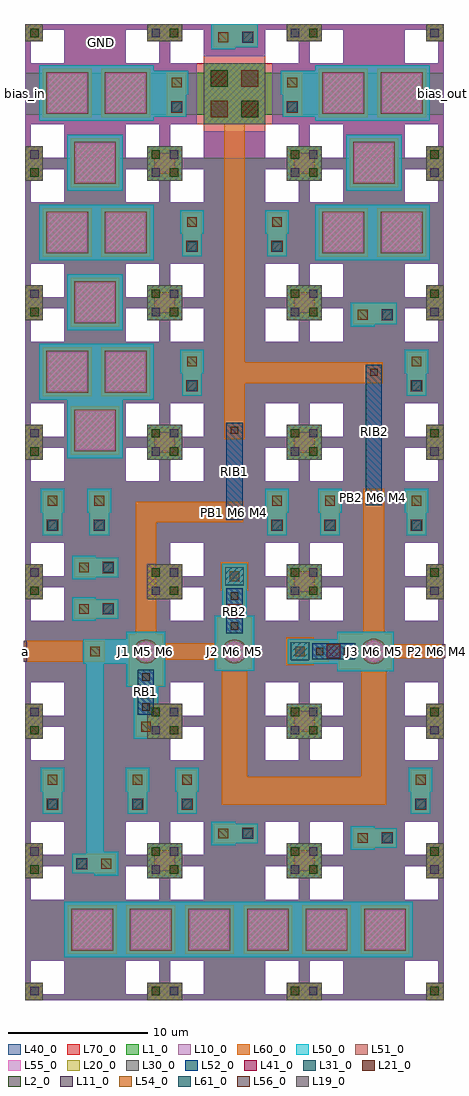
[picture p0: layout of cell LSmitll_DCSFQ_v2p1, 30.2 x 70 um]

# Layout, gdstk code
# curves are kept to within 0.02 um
from math import pi, radians
import gdstk
lib = gdstk.Library(unit=1e-6, precision=1e-09)
def R(c, l, rs):  # rectangles x0, y0, x1, y1
    for r in rs: c.add(gdstk.rectangle(r[:2], r[2:], *l))
def A(c, l, x, y, w, h, nx, ny, dx, dy):  # array of equal rectangles
    R(c, l, [(x+i*dx, y+j*dy, x+i*dx+w, y+j*dy+h) for i in range(nx) for j in range(ny)])
def P(c, l, *ps):  # polygons
    for p in ps: c.add(gdstk.Polygon(p, *l))
L1_0 = (1, 0)
L2_0 = (2, 0)
L10_0 = (10, 0)
L11_0 = (11, 0)
L19_0 = (19, 0)
L20_0 = (20, 0)
L21_0 = (21, 0)
L30_0 = (30, 0)
L31_0 = (31, 0)
L40_0 = (40, 0)
L41_0 = (41, 0)
L50_0 = (50, 0)
L51_0 = (51, 0)
L52_0 = (52, 0)
L54_0 = (54, 0)
L55_0 = (55, 0)
L56_0 = (56, 0)
L60_0 = (60, 0)
L61_0 = (61, 0)
L70_0 = (70, 0)

ls_tr_m0 = lib.new_cell('ls_tr_M0')
P(ls_tr_m0, L1_0, [(0,0),(0,10),(1.25,10),(1.25,8.75),(0.4,8.75),(0.4,1.25),(1.25,1.25),(1.25,0.4),(2.8,0.4),(2.8,2.8),(0.4,2.8),(0.4,7.2),(2.8,7.2),(2.8,9.6),(1.25,9.6),(1.25,10),(7.2,10),(7.2,0.4),(8.75,0.4),(8.75,1.25),(9.6,1.25),(9.6,2.8),(7.2,2.8),(7.2,7.2),(9.6,7.2),(9.6,8.75),(8.75,8.75),(8.75,9.6),(7.2,9.6),(7.2,10),(10,10),(10,0)])

ls_tr_m7 = lib.new_cell('ls_tr_M7')
P(ls_tr_m7, L70_0, [(0,0),(0,10),(1.25,10),(1.25,8.75),(0.4,8.75),(0.4,1.25),(1.25,1.25),(1.25,0.4),(2.8,0.4),(2.8,2.8),(0.4,2.8),(0.4,7.2),(2.8,7.2),(2.8,9.6),(1.25,9.6),(1.25,10),(7.2,10),(7.2,0.4),(8.75,0.4),(8.75,1.25),(9.6,1.25),(9.6,2.8),(7.2,2.8),(7.2,7.2),(9.6,7.2),(9.6,8.75),(8.75,8.75),(8.75,9.6),(7.2,9.6),(7.2,10),(10,10),(10,0)])

ls_tr_u_m4_alt = lib.new_cell('ls_tr_u_M4_alt')
R(ls_tr_u_m4_alt, L1_0, [(0,0,1.25,1.25), (8.75,0,10,1.25), (0,8.75,1.25,10), (8.75,8.75,10,10)])
R(ls_tr_u_m4_alt, L2_0, [(9.05,0.35,9.65,0.95), (0.35,9.05,0.95,9.65)])
R(ls_tr_u_m4_alt, L10_0, [(0,0,1.25,1.25), (1.25,0,8.75,0.4), (8.75,0,10,1.25), (2.8,0.4,7.2,9.6), (0,1.25,0.4,8.75), (9.6,1.25,10,8.75), (0.4,2.8,2.8,7.2), (7.2,2.8,9.6,7.2), (0,8.75,1.25,10), (8.75,8.75,10,10), (1.25,9.6,8.75,10)])
R(ls_tr_u_m4_alt, L11_0, [(0.35,0.35,0.95,0.95), (9.05,9.05,9.65,9.65)])
R(ls_tr_u_m4_alt, L20_0, [(0,0,1.25,1.25), (8.75,0,10,1.25), (0,8.75,1.25,10), (8.75,8.75,10,10)])
R(ls_tr_u_m4_alt, L21_0, [(9.05,0.35,9.65,0.95), (0.35,9.05,0.95,9.65)])
R(ls_tr_u_m4_alt, L30_0, [(0,0,1.25,1.25), (8.75,0,10,1.25), (0,8.75,1.25,10), (8.75,8.75,10,10)])
R(ls_tr_u_m4_alt, L31_0, [(0.35,0.35,0.95,0.95), (9.05,9.05,9.65,9.65)])
P(ls_tr_u_m4_alt, L40_0, [(0,0),(0,10),(1.25,10),(1.25,8.75),(0.4,8.75),(0.4,1.25),(1.25,1.25),(1.25,0.4),(2.8,0.4),(2.8,2.8),(0.4,2.8),(0.4,7.2),(2.8,7.2),(2.8,9.6),(1.25,9.6),(1.25,10),(7.2,10),(7.2,0.4),(8.75,0.4),(8.75,1.25),(9.6,1.25),(9.6,2.8),(7.2,2.8),(7.2,7.2),(9.6,7.2),(9.6,8.75),(8.75,8.75),(8.75,9.6),(7.2,9.6),(7.2,10),(10,10),(10,0)])
ls_tr_u_m4_alt.add(gdstk.Reference(ls_tr_m7, (0,0)))

ls_tr_bias_pillar_m0m6 = lib.new_cell('ls_tr_bias_pillar_M0M6')
R(ls_tr_bias_pillar_m0m6, L1_0, [(0,0,1.25,1.25), (8.75,0,10,1.25), (2.8,2.8,7.2,7.2), (0,8.75,1.25,10), (8.75,8.75,10,10)])
R(ls_tr_bias_pillar_m0m6, L2_0, [(9.05,0.35,9.65,0.95), (5.5,3.3,6.7,4.5), (3.3,5.5,4.5,6.7), (0.35,9.05,0.95,9.65)])
R(ls_tr_bias_pillar_m0m6, L10_0, [(0,0,1.25,1.25), (8.75,0,10,1.25), (2.8,2.8,7.2,7.2), (0,8.75,1.25,10), (8.75,8.75,10,10)])
P(ls_tr_bias_pillar_m0m6, L10_0, [(0,0),(0,10),(7.2,10),(7.2,7.7),(2.8,7.7),(2.8,9.6),(1.25,9.6),(1.25,8.75),(0.4,8.75),(0.4,7.2),(2.3,7.2),(2.3,2.8),(0.4,2.8),(0.4,1.25),(1.25,1.25),(1.25,0.4),(2.8,0.4),(2.8,2.3),(7.2,2.3),(7.2,0.4),(8.75,0.4),(8.75,1.25),(9.6,1.25),(9.6,2.8),(7.7,2.8),(7.7,7.2),(9.6,7.2),(9.6,8.75),(8.75,8.75),(8.75,9.6),(7.2,9.6),(7.2,10),(10,10),(10,0)])
R(ls_tr_bias_pillar_m0m6, L11_0, [(0.35,0.35,0.95,0.95), (3.3,3.3,4.5,4.5), (5.5,5.5,6.7,6.7), (9.05,9.05,9.65,9.65)])
R(ls_tr_bias_pillar_m0m6, L20_0, [(0,0,1.25,1.25), (8.75,0,10,1.25), (2.8,2.8,7.2,7.2), (0,8.75,1.25,10), (8.75,8.75,10,10)])
R(ls_tr_bias_pillar_m0m6, L21_0, [(9.05,0.35,9.65,0.95), (5.5,3.3,6.7,4.5), (3.3,5.5,4.5,6.7), (0.35,9.05,0.95,9.65)])
R(ls_tr_bias_pillar_m0m6, L30_0, [(0,0,1.25,1.25), (8.75,0,10,1.25), (2.8,2.8,7.2,7.2), (0,8.75,1.25,10), (8.75,8.75,10,10)])
R(ls_tr_bias_pillar_m0m6, L31_0, [(0.35,0.35,0.95,0.95), (3.3,3.3,4.5,4.5), (5.5,5.5,6.7,6.7), (9.05,9.05,9.65,9.65)])
R(ls_tr_bias_pillar_m0m6, L40_0, [(2.8,2.8,7.2,7.2)])
P(ls_tr_bias_pillar_m0m6, L40_0, [(0,0),(0,10),(7.2,10),(7.2,7.7),(2.8,7.7),(2.8,9.6),(1.25,9.6),(1.25,8.75),(0.4,8.75),(0.4,7.2),(2.3,7.2),(2.3,2.8),(0.4,2.8),(0.4,1.25),(1.25,1.25),(1.25,0.4),(2.8,0.4),(2.8,2.3),(7.2,2.3),(7.2,0.4),(8.75,0.4),(8.75,1.25),(9.6,1.25),(9.6,2.8),(7.7,2.8),(7.7,7.2),(9.6,7.2),(9.6,8.75),(8.75,8.75),(8.75,9.6),(7.2,9.6),(7.2,10),(10,10),(10,0)])
R(ls_tr_bias_pillar_m0m6, L41_0, [(5.5,3.3,6.7,4.5), (3.3,5.5,4.5,6.7)])
R(ls_tr_bias_pillar_m0m6, L50_0, [(2.8,2.8,7.2,7.2)])
R(ls_tr_bias_pillar_m0m6, L54_0, [(3.3,3.3,4.5,4.5), (5.5,5.5,6.7,6.7)])
R(ls_tr_bias_pillar_m0m6, L60_0, [(2.8,2.8,7.2,7.2)])
P(ls_tr_bias_pillar_m0m6, L70_0, [(0,0),(0,10),(1.25,10),(1.25,8.75),(0.4,8.75),(0.4,1.25),(1.25,1.25),(1.25,0.4),(2.8,0.4),(2.8,2.8),(0.4,2.8),(0.4,7.2),(2.8,7.2),(2.8,9.6),(1.25,9.6),(1.25,10),(7.2,10),(7.2,0.4),(8.75,0.4),(8.75,1.25),(9.6,1.25),(9.6,2.8),(7.2,2.8),(7.2,7.2),(9.6,7.2),(9.6,8.75),(8.75,8.75),(8.75,9.6),(7.2,9.6),(7.2,10),(10,10),(10,0)])

ls_fakejj_3umx3um = lib.new_cell('ls_FakeJJ_3umx3um')
R(ls_fakejj_3umx3um, L40_0, [(-2,-2,2,2)])
R(ls_fakejj_3umx3um, L50_0, [(-2,-2,2,2)])
R(ls_fakejj_3umx3um, L51_0, [(-1.5,-1.5,1.5,1.5)])
R(ls_fakejj_3umx3um, L55_0, [(-1.4,-1.4,1.4,1.4)])
R(ls_fakejj_3umx3um, L60_0, [(-1.75,-1.75,1.75,1.75)])

ls_conn_m4m5m6m7 = lib.new_cell('ls_conn_M4M5M6M7')
R(ls_conn_m4m5m6m7, L40_0, [(0,0,1.4,1.4)])
R(ls_conn_m4m5m6m7, L41_0, [(0.3,0.3,1.1,1.1)])
P(ls_conn_m4m5m6m7, L50_0, [(1.6,-0.15),(1.6,0),(0,0),(0,1.4),(1.6,1.4),(1.6,1.55),(3.3,1.55),(3.3,-0.15)])
R(ls_conn_m4m5m6m7, L54_0, [(2.1,0.35,2.8,1.05)])
R(ls_conn_m4m5m6m7, L60_0, [(0,0,3.15,1.4)])
R(ls_conn_m4m5m6m7, L61_0, [(0.35,0.35,1.05,1.05)])
R(ls_conn_m4m5m6m7, L70_0, [(0,0,1.4,1.4)])

ls_conn_m5m6 = lib.new_cell('ls_conn_M5M6')
R(ls_conn_m5m6, L50_0, [(0,0,1.7,1.7)])
R(ls_conn_m5m6, L54_0, [(0.5,0.5,1.2,1.2)])
R(ls_conn_m5m6, L60_0, [(0.15,0.15,1.55,1.55)])

ls_ib_275 = lib.new_cell('ls_ib_275')
R(ls_ib_275, L52_0, [(-0.575,0,0.575,6.95)])
R(ls_ib_275, L56_0, [(-0.26,0.29,0.26,0.81), (-0.26,6.16,0.26,6.68)])
R(ls_ib_275, L60_0, [(-0.625,-0.1,0.625,1.175), (-0.625,5.775,0.625,7.05)])

ls_conn_m5m6m7 = lib.new_cell('ls_conn_M5M6M7')
R(ls_conn_m5m6m7, L50_0, [(-0.5,-0.5,1.2,1.2)])
R(ls_conn_m5m6m7, L54_0, [(0,0,0.7,0.7)])
R(ls_conn_m5m6m7, L60_0, [(-0.65,-0.65,1.35,1.35)])
R(ls_conn_m5m6m7, L61_0, [(-0.3,-0.3,1,1)])
R(ls_conn_m5m6m7, L70_0, [(-0.65,-0.65,1.35,1.35)])

ls_jj_250_sg = lib.new_cell('ls_jj_250_sg')
R(ls_jj_250_sg, L41_0, [(-0.5,2.4,0.5,3.4)])
R(ls_jj_250_sg, L50_0, [(-1.425,-1.425,1.425,2.625), (-0.875,2.625,0.875,6.175)])
P(ls_jj_250_sg, L51_0, [(0,-0.91),(-0.18,-0.895),(-0.35,-0.84),(-0.645,-0.645),(-0.84,-0.35),(-0.91,0),(-0.895,0.18),(-0.84,0.35),(-0.645,0.645),(-0.35,0.84),(-0.18,0.895),(0,0.91),(0.18,0.895),(0.35,0.84),(0.645,0.645),(0.84,0.35),(0.895,0.18),(0.91,0),(0.84,-0.35),(0.645,-0.645),(0.35,-0.84),(0.18,-0.895)])
R(ls_jj_250_sg, L52_0, [(-0.575,1.35,0.575,4.425)])
R(ls_jj_250_sg, L54_0, [(-0.35,4.95,0.35,5.65)])
P(ls_jj_250_sg, L55_0, [(0,-0.76),(-0.15,-0.75),(-0.29,-0.7),(-0.54,-0.54),(-0.7,-0.29),(-0.75,-0.15),(-0.76,0),(-0.75,0.15),(-0.7,0.29),(-0.54,0.54),(-0.29,0.7),(-0.15,0.75),(0,0.76),(0.15,0.75),(0.29,0.7),(0.54,0.54),(0.7,0.29),(0.75,0.15),(0.76,0),(0.75,-0.15),(0.7,-0.29),(0.54,-0.54),(0.29,-0.7),(0.15,-0.75)])
R(ls_jj_250_sg, L56_0, [(-0.26,1.64,0.26,2.16), (-0.26,3.63,0.26,4.15)])
R(ls_jj_250_sg, L60_0, [(-1.275,-1.275,1.275,2.525), (-0.725,3.25,0.725,6.025)])
ls_jj_250_sg.add(gdstk.Reference(ls_conn_m5m6m7, (-0.35,4.95)))

ls_jj_225_sg = lib.new_cell('ls_jj_225_sg')
R(ls_jj_225_sg, L41_0, [(-0.5,2.375,0.5,3.375)])
R(ls_jj_225_sg, L50_0, [(-1.4,-1.4,1.4,2.55), (-0.875,2.55,0.875,6.275)])
P(ls_jj_225_sg, L51_0, [(0,-0.865),(-0.33,-0.8),(-0.61,-0.61),(-0.8,-0.33),(-0.865,0),(-0.8,0.33),(-0.61,0.61),(-0.33,0.8),(0,0.865),(0.33,0.8),(0.61,0.61),(0.8,0.33),(0.865,0),(0.8,-0.33),(0.61,-0.61),(0.33,-0.8)])
R(ls_jj_225_sg, L52_0, [(-0.575,1.3,0.575,4.525)])
R(ls_jj_225_sg, L54_0, [(-0.35,5.05,0.35,5.75)])
P(ls_jj_225_sg, L55_0, [(0,-0.72),(-0.27,-0.67),(-0.51,-0.51),(-0.61,-0.4),(-0.73,-0.01),(-0.61,0.39),(-0.51,0.5),(-0.27,0.66),(0,0.71),(0.27,0.66),(0.51,0.5),(0.61,0.39),(0.73,-0.01),(0.61,-0.4),(0.51,-0.51),(0.27,-0.67)])
R(ls_jj_225_sg, L56_0, [(-0.26,1.57,0.26,2.09), (-0.26,3.72,0.26,4.24)])
R(ls_jj_225_sg, L60_0, [(-1.25,-1.25,1.25,2.45), (-0.725,3.35,0.725,6.125)])
ls_jj_225_sg.add(gdstk.Reference(ls_conn_m5m6m7, (-0.35,5.05)))

ls_fakejj_1p5x1p5um = lib.new_cell('ls_FakeJJ_1p5x1p5um')
R(ls_fakejj_1p5x1p5um, L40_0, [(-1.25,-1.25,1.25,1.25)])
R(ls_fakejj_1p5x1p5um, L50_0, [(-1.25,-1.25,1.25,1.25)])
R(ls_fakejj_1p5x1p5um, L51_0, [(-0.75,-0.75,0.75,0.75)])
R(ls_fakejj_1p5x1p5um, L55_0, [(-0.65,-0.65,0.65,0.65)])
R(ls_fakejj_1p5x1p5um, L60_0, [(-1,-1,1,1)])

ls_jj_225_s = lib.new_cell('ls_jj_225_s')
R(ls_jj_225_s, L50_0, [(-1.4,-1.4,1.4,2.55), (-0.875,2.55,0.875,6.275)])
P(ls_jj_225_s, L51_0, [(0,-0.865),(-0.33,-0.8),(-0.61,-0.61),(-0.8,-0.33),(-0.865,0),(-0.8,0.33),(-0.61,0.61),(-0.33,0.8),(0,0.865),(0.33,0.8),(0.61,0.61),(0.8,0.33),(0.865,0),(0.8,-0.33),(0.61,-0.61),(0.33,-0.8)])
R(ls_jj_225_s, L52_0, [(-0.575,1.3,0.575,4.525)])
R(ls_jj_225_s, L54_0, [(-0.35,5.05,0.35,5.75)])
P(ls_jj_225_s, L55_0, [(0,-0.72),(-0.27,-0.67),(-0.51,-0.51),(-0.61,-0.4),(-0.73,-0.01),(-0.61,0.39),(-0.51,0.5),(-0.27,0.66),(0,0.71),(0.27,0.66),(0.51,0.5),(0.61,0.39),(0.73,-0.01),(0.61,-0.4),(0.51,-0.51),(0.27,-0.67)])
R(ls_jj_225_s, L56_0, [(-0.26,1.57,0.26,2.09), (-0.26,3.72,0.26,4.24)])
R(ls_jj_225_s, L60_0, [(-1.25,-1.25,1.25,2.45), (-0.725,3.35,0.725,6.125)])

ls_ib_175 = lib.new_cell('ls_ib_175')
R(ls_ib_175, L52_0, [(-0.575,0,0.575,10.05)])
R(ls_ib_175, L56_0, [(-0.26,0.29,0.26,0.81), (-0.26,9.26,0.26,9.78)])
R(ls_ib_175, L60_0, [(-0.625,-0.1,0.625,1.175), (-0.625,8.875,0.625,10.15)])

lsmitll_dcsfq_v2p1 = lib.new_cell('LSmitll_DCSFQ_v2p1')
R(lsmitll_dcsfq_v2p1, L1_0, [(7.2,17.2,9.6,22.8), (7.2,27.2,9.7,32.8), (1.25,60,28.75,60.4)])
R(lsmitll_dcsfq_v2p1, L10_0, [(7.2,17.2,9.6,22.8), (7.2,27.2,9.7,32.8)])
R(lsmitll_dcsfq_v2p1, L19_0, [(14.74,34.74,15.26,35.26), (24.74,35.79,25.26,36.31)])
R(lsmitll_dcsfq_v2p1, L40_0, [(7.2,17.2,9.6,22.8), (7.2,27.2,9.7,32.8)])
A(lsmitll_dcsfq_v2p1, L50_0, 6.8, 3.05, 0.2, 4, 5, 1, 4.2, 0)
A(lsmitll_dcsfq_v2p1, L50_0, 5, 43.05, 0.2, 4, 1, 3, 0, 10)
R(lsmitll_dcsfq_v2p1, L50_0, [(3,42.85,7,43.05), (25.05,49.85,26.65,50), (24.8,53.05,25,57.05), (24.8,63.05,25,67.05), (9.2,63.35,10.15,66.65), (19.85,63.35,20.8,66.65), (13.35,69.75,16.65,70)])
R(lsmitll_dcsfq_v2p1, L60_0, [(14.275,34.25,15.625,35.75), (23.5,49.85,26.65,50), (13.5,69.75,16.65,70)])
R(lsmitll_dcsfq_v2p1, L70_0, [(7.2,17.2,9.6,22.8), (7.2,27.2,9.7,32.8)])
lsmitll_dcsfq_v2p1.add(gdstk.FlexPath([(15,65.7),(15,40.225)], 1.5, ends="flush", simple_path=True, layer=60, datatype=0))  # L60_0
lsmitll_dcsfq_v2p1.add(gdstk.FlexPath([(14.25,45),(25.625,45)], 1.5, ends="flush", simple_path=True, layer=60, datatype=0))  # L60_0
lsmitll_dcsfq_v2p1.add(gdstk.FlexPath([(25,26.275),(25,36.675)], 1.5, ends="flush", simple_path=True, layer=60, datatype=0))  # L60_0
lsmitll_dcsfq_v2p1.add(gdstk.FlexPath([(8.65,26.225),(8.65,35),(14.275,35)], 1.5, ends="flush", simple_path=True, layer=60, datatype=0))  # L60_0
lsmitll_dcsfq_v2p1.add(gdstk.FlexPath([(26.275,25),(30,25)], 1, ends="flush", simple_path=True, layer=60, datatype=0))  # L60_0
lsmitll_dcsfq_v2p1.add(gdstk.FlexPath([(25,14.35),(25,23.725)], 1.8, ends="flush", simple_path=True, layer=60, datatype=0))  # L60_0
lsmitll_dcsfq_v2p1.add(gdstk.FlexPath([(14.1,15),(25.9,15)], 2, ends="flush", simple_path=True, layer=60, datatype=0))  # L60_0
lsmitll_dcsfq_v2p1.add(gdstk.FlexPath([(15,23.75),(15,14.4)], 1.8, ends="flush", simple_path=True, layer=60, datatype=0))  # L60_0
lsmitll_dcsfq_v2p1.add(gdstk.FlexPath([(13.825,25),(9.825,25)], 1.2, ends="flush", simple_path=True, layer=60, datatype=0))  # L60_0
lsmitll_dcsfq_v2p1.add(gdstk.FlexPath([(0,25),(5.7,25)], 1.5, ends="flush", simple_path=True, layer=60, datatype=0))  # L60_0
lsmitll_dcsfq_v2p1.add(gdstk.FlexPath([(5,25.85),(5,9.925)], 1.25, ends="flush", simple_path=True, layer=50, datatype=0))  # L50_0
lsmitll_dcsfq_v2p1.add(gdstk.FlexPath([(4.15,25),(7.325,25)], 1.75, ends="flush", simple_path=True, layer=50, datatype=0))  # L50_0
lsmitll_dcsfq_v2p1.add(gdstk.FlexPath([(0,65),(30,65)], 3, ends="flush", simple_path=True, layer=1, datatype=0))  # L1_0
lsmitll_dcsfq_v2p1.add(gdstk.FlexPath([(30,25.5),(30,24.5)], 0.2, ends="flush", simple_path=True, layer=19, datatype=0))  # L19_0
lsmitll_dcsfq_v2p1.add(gdstk.FlexPath([(0,25.75),(0,24.25)], 0.2, ends="flush", simple_path=True, layer=19, datatype=0))  # L19_0
r = gdstk.Reference(ls_tr_m0, (0,0)); r.repetition = gdstk.Repetition(3, 6, v1=(10,0), v2=(0,10)); lsmitll_dcsfq_v2p1.add(r)
lsmitll_dcsfq_v2p1.add(gdstk.Reference(ls_tr_u_m4_alt, (20,60)))
lsmitll_dcsfq_v2p1.add(gdstk.Reference(ls_tr_u_m4_alt, (0,60)))
lsmitll_dcsfq_v2p1.add(gdstk.Reference(ls_tr_bias_pillar_m0m6, (10,60)))
r = gdstk.Reference(ls_tr_u_m4_alt, (0,0)); r.repetition = gdstk.Repetition(3, 6, v1=(10,0), v2=(0,10)); lsmitll_dcsfq_v2p1.add(r)
lsmitll_dcsfq_v2p1.add(gdstk.Reference(ls_fakejj_3umx3um, (25,60.05)))
lsmitll_dcsfq_v2p1.add(gdstk.Reference(ls_conn_m4m5m6m7, (6.65,31.725), rotation=pi))
lsmitll_dcsfq_v2p1.add(gdstk.Reference(ls_fakejj_3umx3um, (3,45.05)))
lsmitll_dcsfq_v2p1.add(gdstk.Reference(ls_conn_m4m5m6m7, (3.35,9.075)))
lsmitll_dcsfq_v2p1.add(gdstk.Reference(ls_conn_m5m6, (4.15,24.15)))
lsmitll_dcsfq_v2p1.add(gdstk.Reference(ls_ib_275, (15,34.45)))
lsmitll_dcsfq_v2p1.add(gdstk.Reference(ls_jj_250_sg, (25,25), rotation=pi/2))
lsmitll_dcsfq_v2p1.add(gdstk.Reference(ls_jj_225_sg, (15,25)))
lsmitll_dcsfq_v2p1.add(gdstk.Reference(ls_conn_m4m5m6m7, (12.3,13.35), rotation=pi/2))
lsmitll_dcsfq_v2p1.add(gdstk.Reference(ls_conn_m4m5m6m7, (8.75,13.35), rotation=pi/2))
lsmitll_dcsfq_v2p1.add(gdstk.Reference(ls_conn_m4m5m6m7, (2.65,13.35), rotation=pi/2))
lsmitll_dcsfq_v2p1.add(gdstk.Reference(ls_conn_m4m5m6m7, (18.75,33.35), rotation=pi/2))
lsmitll_dcsfq_v2p1.add(gdstk.Reference(ls_conn_m4m5m6m7, (22.55,33.35), rotation=pi/2))
lsmitll_dcsfq_v2p1.add(gdstk.Reference(ls_conn_m4m5m6m7, (16.65,12.65), rotation=pi))
lsmitll_dcsfq_v2p1.add(gdstk.Reference(ls_conn_m4m5m6m7, (26.65,12.325), rotation=pi))
lsmitll_dcsfq_v2p1.add(gdstk.Reference(ls_conn_m4m5m6m7, (6.65,28.75), rotation=pi))
lsmitll_dcsfq_v2p1.add(gdstk.Reference(ls_conn_m4m5m6m7, (12.65,43.35), rotation=pi/2))
lsmitll_dcsfq_v2p1.add(gdstk.Reference(ls_conn_m4m5m6m7, (26.65,49.85), rotation=pi))
lsmitll_dcsfq_v2p1.add(gdstk.Reference(ls_fakejj_3umx3um, (7.2,45.05)))
lsmitll_dcsfq_v2p1.add(gdstk.Reference(ls_fakejj_3umx3um, (5,40.85)))
lsmitll_dcsfq_v2p1.add(gdstk.Reference(ls_fakejj_3umx3um, (9,5.05)))
lsmitll_dcsfq_v2p1.add(gdstk.Reference(ls_fakejj_3umx3um, (4.8,5.05)))
lsmitll_dcsfq_v2p1.add(gdstk.Reference(ls_fakejj_3umx3um, (13.2,5.05)))
lsmitll_dcsfq_v2p1.add(gdstk.Reference(ls_fakejj_3umx3um, (17.4,5.05)))
lsmitll_dcsfq_v2p1.add(gdstk.Reference(ls_fakejj_3umx3um, (25.8,5.05)))
lsmitll_dcsfq_v2p1.add(gdstk.Reference(ls_fakejj_3umx3um, (21.6,5.05)))
lsmitll_dcsfq_v2p1.add(gdstk.Reference(ls_conn_m4m5m6m7, (6,33.35), rotation=pi/2))
lsmitll_dcsfq_v2p1.add(gdstk.Reference(ls_conn_m4m5m6m7, (29.05,13.35), rotation=pi/2))
lsmitll_dcsfq_v2p1.add(gdstk.Reference(ls_conn_m4m5m6m7, (2.65,33.35), rotation=pi/2))
lsmitll_dcsfq_v2p1.add(gdstk.Reference(ls_conn_m4m5m6m7, (28.75,33.35), rotation=pi/2))
lsmitll_dcsfq_v2p1.add(gdstk.Reference(ls_conn_m4m5m6m7, (28.75,43.35), rotation=pi/2))
lsmitll_dcsfq_v2p1.add(gdstk.Reference(ls_conn_m4m5m6m7, (12.65,53.35), rotation=pi/2))
lsmitll_dcsfq_v2p1.add(gdstk.Reference(ls_conn_m4m5m6m7, (18.75,53.35), rotation=pi/2))
lsmitll_dcsfq_v2p1.add(gdstk.Reference(ls_conn_m4m5m6m7, (19.85,63.35), rotation=pi/2))
lsmitll_dcsfq_v2p1.add(gdstk.Reference(ls_conn_m4m5m6m7, (11.55,63.35), rotation=pi/2))
lsmitll_dcsfq_v2p1.add(gdstk.Reference(ls_fakejj_3umx3um, (7.2,55.05)))
lsmitll_dcsfq_v2p1.add(gdstk.Reference(ls_fakejj_3umx3um, (3,55.05)))
lsmitll_dcsfq_v2p1.add(gdstk.Reference(ls_fakejj_3umx3um, (3,65.05)))
lsmitll_dcsfq_v2p1.add(gdstk.Reference(ls_fakejj_3umx3um, (7.2,65.05)))
lsmitll_dcsfq_v2p1.add(gdstk.Reference(ls_fakejj_3umx3um, (27,65.05)))
lsmitll_dcsfq_v2p1.add(gdstk.Reference(ls_fakejj_3umx3um, (22.8,65.05)))
lsmitll_dcsfq_v2p1.add(gdstk.Reference(ls_fakejj_3umx3um, (22.8,55.05)))
lsmitll_dcsfq_v2p1.add(gdstk.Reference(ls_fakejj_3umx3um, (27,55.05)))
lsmitll_dcsfq_v2p1.add(gdstk.Reference(ls_fakejj_3umx3um, (5,50.05)))
lsmitll_dcsfq_v2p1.add(gdstk.Reference(ls_fakejj_3umx3um, (5,60.05)))
lsmitll_dcsfq_v2p1.add(gdstk.Reference(ls_fakejj_1p5x1p5um, (10,60)))
lsmitll_dcsfq_v2p1.add(gdstk.Reference(ls_fakejj_1p5x1p5um, (20,60)))
lsmitll_dcsfq_v2p1.add(gdstk.Reference(ls_fakejj_1p5x1p5um, (20,50)))
lsmitll_dcsfq_v2p1.add(gdstk.Reference(ls_fakejj_1p5x1p5um, (10,50)))
lsmitll_dcsfq_v2p1.add(gdstk.Reference(ls_fakejj_1p5x1p5um, (10,40)))
lsmitll_dcsfq_v2p1.add(gdstk.Reference(ls_fakejj_1p5x1p5um, (20,40)))
lsmitll_dcsfq_v2p1.add(gdstk.Reference(ls_fakejj_1p5x1p5um, (20,30)))
lsmitll_dcsfq_v2p1.add(gdstk.Reference(ls_fakejj_1p5x1p5um, (20,20)))
lsmitll_dcsfq_v2p1.add(gdstk.Reference(ls_fakejj_1p5x1p5um, (10,10)))
lsmitll_dcsfq_v2p1.add(gdstk.Reference(ls_fakejj_1p5x1p5um, (20,10)))
lsmitll_dcsfq_v2p1.add(gdstk.Reference(ls_jj_225_s, (8.65,25), rotation=pi))
lsmitll_dcsfq_v2p1.add(gdstk.Reference(ls_ib_175, (25,35.5)))
lsmitll_dcsfq_v2p1.add(gdstk.Reference(ls_conn_m4m5m6m7, (16.65,69.75), rotation=pi))
lsmitll_dcsfq_v2p1.add(gdstk.Label('P2 M6 M4', (30,25), layer=182, texttype=0))
lsmitll_dcsfq_v2p1.add(gdstk.Label('bias_in', (0,65), layer=182, texttype=0))
lsmitll_dcsfq_v2p1.add(gdstk.Label('q', (30,25), layer=182, texttype=0))
lsmitll_dcsfq_v2p1.add(gdstk.Label('a', (0,25), layer=182, texttype=0))
lsmitll_dcsfq_v2p1.add(gdstk.Label('J3 M6 M5', (25.025,25.025), layer=182, texttype=0))
lsmitll_dcsfq_v2p1.add(gdstk.Label('J2 M6 M5', (14.975,25), layer=182, texttype=0))
lsmitll_dcsfq_v2p1.add(gdstk.Label('J1 M5 M6', (8.625,25), layer=182, texttype=0))
lsmitll_dcsfq_v2p1.add(gdstk.Label('PB2 M6 M4', (25,36.05), layer=182, texttype=0))
lsmitll_dcsfq_v2p1.add(gdstk.Label('PB1 M6 M4', (15,35), layer=182, texttype=0))
lsmitll_dcsfq_v2p1.add(gdstk.Label('P1 M6 M4', (0,25.125), layer=182, texttype=0))
lsmitll_dcsfq_v2p1.add(gdstk.Label('bias_out', (30,65), layer=182, texttype=0))
lsmitll_dcsfq_v2p1.add(gdstk.Label('a', (0.051,24.306), layer=60, texttype=1))
lsmitll_dcsfq_v2p1.add(gdstk.Label('q', (29.947,24.554), layer=60, texttype=1))
lsmitll_dcsfq_v2p1.add(gdstk.Label('VDD', (0.691,65.942), layer=1, texttype=1))
lsmitll_dcsfq_v2p1.add(gdstk.Label('RIB1', (15.012,37.909), layer=52, texttype=1))
lsmitll_dcsfq_v2p1.add(gdstk.Label('RIB2', (25.056,40.798), layer=52, texttype=1))
lsmitll_dcsfq_v2p1.add(gdstk.Label('RB1', (8.64,22.119), layer=52, texttype=1))
lsmitll_dcsfq_v2p1.add(gdstk.Label('RB2', (15.012,27.892), layer=52, texttype=1))
lsmitll_dcsfq_v2p1.add(gdstk.Label('RB3', (22.102,25.022), layer=52, texttype=1))
lsmitll_dcsfq_v2p1.add(gdstk.Label('GND', (5.478,68.655), layer=40, texttype=1))

lib.write_gds('LSmitll_DCSFQ_v2p1.gds')
